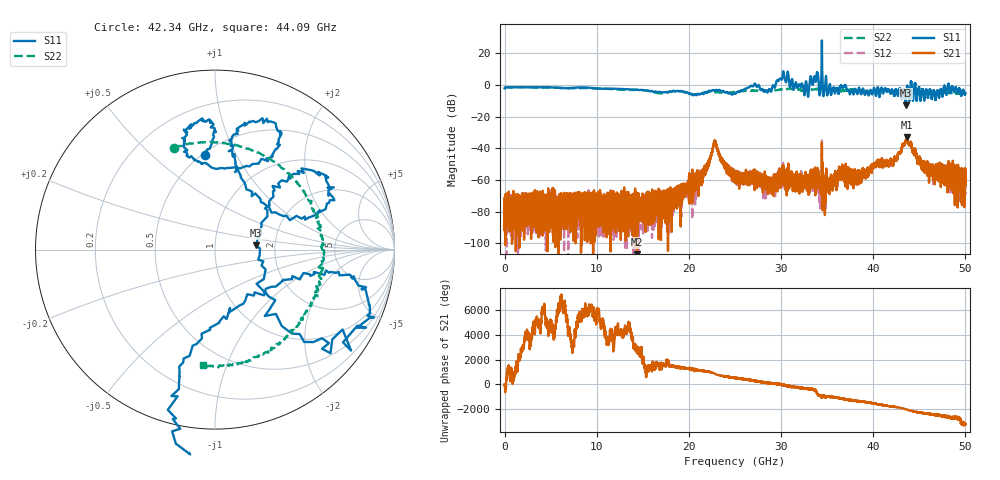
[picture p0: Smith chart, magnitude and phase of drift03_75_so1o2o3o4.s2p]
!Created with skrf (http://scikit-rf.org).
# Hz S RI R 50.0
!freq ReS11 ImS11 ReS21 ImS21 ReS12 ImS12 ReS22 ImS22
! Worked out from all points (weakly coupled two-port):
!   10000 points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, 5.3 MHz to 50 GHz, reference 50 ohm
!   highest |S21| = -33.08 dB at 43.66 GHz (marker M1); lowest = -112.8 dB at 14.37 GHz (marker M2)
!   lowest |S11| = -12.8 dB at 43.52 GHz (marker M3), VSWR 1.59, Z = 79.3 + j4.03 ohm
!   |S11| at or under -10 dB: 43.48168 GHz to 43.54955 GHz (67.87 MHz wide, 0.156 % of centre); 43.55044 GHz to 43.55638 GHz (5.942 MHz wide, 0.0136 % of centre); 43.9084 GHz to 43.91205 GHz (3.659 MHz wide, 0.00833 % of centre) (the widest 3 of 5)
!   |S22| runs from -5.9 to -1.3 dB; largest |S21 - S12| = 0.014
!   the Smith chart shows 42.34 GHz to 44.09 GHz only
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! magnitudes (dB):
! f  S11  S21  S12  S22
! 5.3 MHz  -2.1  -75.4  -75.2  -2.1
! 8.34 GHz  -1.5  -77.7  -84.0  -1.9
! 14.37 GHz  -2.9  -112.8  -80.9  -3.0
! 16.67 GHz  -4.4  -73.2  -70.6  -5.2
! 18.28 GHz  -3.6  -73.0  -78.1  -3.9
! 21.23 GHz  -5.9  -55.0  -56.4  -5.3
! 22.82 GHz  -3.4  -35.5  -35.4  -4.5
! 25.01 GHz  -5.5  -55.7  -58.1  -4.3
! 27.01 GHz  -0.5  -57.1  -58.4  -3.6
! 28.89 GHz  -4.2  -63.6  -61.3  -3.5
! 30.14 GHz  4.4  -54.9  -55.7  -2.7
! 32.74 GHz  2.0  -58.8  -58.9  -3.3
! 33.34 GHz  2.7  -53.8  -58.3  -2.9
! 33.82 GHz  4.0  -58.5  -60.2  -2.5
! 34.89 GHz  5.2  -55.6  -61.1  -2.3
! 36.52 GHz  -0.5  -54.4  -54.5  -3.7
! 38.5 GHz  -2.0  -58.0  -54.8  -3.0
! 41.67 GHz  -2.9  -50.4  -50.8  -3.7
! 43.52 GHz  -12.8  -35.7  -35.7  -4.3
! 43.66 GHz  -0.5  -33.1  -33.5  -4.1
! 46.01 GHz  -5.8  -52.6  -52.8  -5.5
! 50 GHz  -5.3  -56.4  -64.8  -4.9
